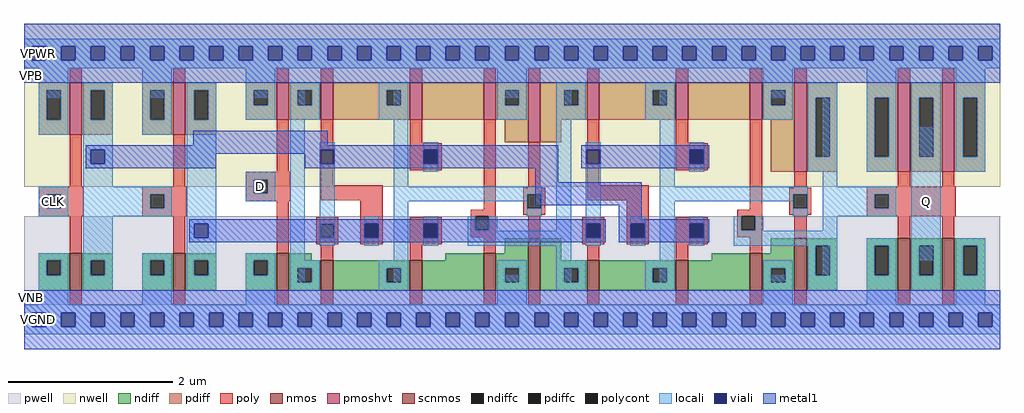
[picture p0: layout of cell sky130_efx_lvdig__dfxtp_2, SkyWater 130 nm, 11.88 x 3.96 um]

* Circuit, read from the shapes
.subckt sky130_efx_lvdig__dfxtp_2 CLK D Q VGND VPWR VPB VNB
XM1 n1 CLK VGND VNB sky130_fd_pr__nfet_01v8 w=0.45 l=0.15
XM2 n2 n1 VGND VNB sky130_fd_pr__nfet_01v8 w=0.45 l=0.15
XM3 n3 D VGND VNB sky130_fd_pr__nfet_01v8 w=0.45 l=0.15
XM4 n4 n1 n3 VNB sky130_fd_pr__nfet_01v8 w=0.36 l=0.15
XM5 n5 n2 n4 VNB sky130_fd_pr__nfet_01v8 w=0.36 l=0.15
XM6 VGND n6 n5 VNB sky130_fd_pr__nfet_01v8 w=0.45 l=0.15
XM7 n6 n4 VGND VNB sky130_fd_pr__nfet_01v8 w=0.63 l=0.15
XM8 n7 n2 n6 VNB sky130_fd_pr__nfet_01v8 w=0.36 l=0.15
XM9 n8 n1 n7 VNB sky130_fd_pr__nfet_01v8 w=0.36 l=0.15
XM10 VGND n9 n8 VNB sky130_fd_pr__nfet_01v8 w=0.45 l=0.15
XM11 n9 n7 VGND VNB sky130_fd_pr__nfet_01v8 w=0.63 l=0.15
XM12 Q n9 VGND VNB sky130_fd_pr__nfet_01v8 w=0.63 l=0.15 m=2
XM13 n1 CLK VPWR VPB sky130_fd_pr__pfet_01v8_hvt w=0.63 l=0.15
XM14 n2 n1 VPWR VPB sky130_fd_pr__pfet_01v8_hvt w=0.63 l=0.15
XM15 n3 D VPWR VPB sky130_fd_pr__pfet_01v8_hvt w=0.45 l=0.15
XM16 n4 n2 n3 VPB sky130_fd_pr__pfet_01v8_hvt w=0.45 l=0.15
XM17 n10 n1 n4 VPB sky130_fd_pr__pfet_01v8_hvt w=0.45 l=0.15
XM18 VPWR n6 n10 VPB sky130_fd_pr__pfet_01v8_hvt w=0.45 l=0.15
XM19 n6 n4 VPWR VPB sky130_fd_pr__pfet_01v8_hvt w=0.72 l=0.15
XM20 n7 n1 n6 VPB sky130_fd_pr__pfet_01v8_hvt w=0.45 l=0.15
XM21 n11 n2 n7 VPB sky130_fd_pr__pfet_01v8_hvt w=0.45 l=0.15
XM22 VPWR n9 n11 VPB sky130_fd_pr__pfet_01v8_hvt w=0.45 l=0.15
XM23 n9 n7 VPWR VPB sky130_fd_pr__pfet_01v8_hvt w=1.08 l=0.15
XM24 Q n9 VPWR VPB sky130_fd_pr__pfet_01v8_hvt w=1.08 l=0.15 m=2
.ends

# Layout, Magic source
magic
tech sky130A
magscale 1 2
<< nwell >>
rect 0 288 2376 684
<< pwell >>
rect 0 0 2376 216
<< poly >>
rect 615 324 645 450
rect 540 305 648 324
rect 36 269 144 288
rect 36 235 55 269
rect 89 235 144 269
rect 36 216 144 235
rect 288 269 396 288
rect 288 235 307 269
rect 341 235 396 269
rect 540 271 559 305
rect 593 271 648 305
rect 540 252 648 271
rect 723 291 753 450
rect 939 393 969 450
rect 939 377 1017 393
rect 939 343 973 377
rect 1007 343 1017 377
rect 939 327 1017 343
rect 723 255 873 291
rect 288 216 396 235
rect 615 126 645 252
rect 711 197 765 213
rect 711 163 721 197
rect 755 163 765 197
rect 711 147 765 163
rect 819 197 873 255
rect 1119 231 1149 450
rect 1227 285 1257 396
rect 1371 291 1401 450
rect 1587 393 1617 450
rect 1587 377 1665 393
rect 1587 343 1621 377
rect 1655 343 1665 377
rect 1587 327 1665 343
rect 1088 215 1149 231
rect 1215 269 1269 285
rect 1215 235 1225 269
rect 1259 235 1269 269
rect 1371 255 1521 291
rect 1215 219 1269 235
rect 819 163 829 197
rect 863 163 873 197
rect 819 147 873 163
rect 939 197 1017 213
rect 939 163 973 197
rect 1007 163 1017 197
rect 1088 181 1098 215
rect 1132 181 1149 215
rect 1088 165 1149 181
rect 939 147 1017 163
rect 723 108 753 147
rect 939 108 969 147
rect 1119 126 1149 165
rect 1227 162 1257 219
rect 1359 197 1413 213
rect 1359 163 1369 197
rect 1403 163 1413 197
rect 1359 147 1413 163
rect 1467 197 1521 255
rect 1767 231 1797 450
rect 1875 285 1905 324
rect 1736 215 1797 231
rect 1863 269 1917 285
rect 1863 235 1873 269
rect 1907 235 1917 269
rect 1863 219 1917 235
rect 2052 269 2268 288
rect 2052 235 2071 269
rect 2105 235 2268 269
rect 1467 163 1477 197
rect 1511 163 1521 197
rect 1467 147 1521 163
rect 1587 197 1665 213
rect 1587 163 1621 197
rect 1655 163 1665 197
rect 1736 181 1746 215
rect 1780 181 1797 215
rect 1736 165 1797 181
rect 1587 147 1665 163
rect 1371 108 1401 147
rect 1587 108 1617 147
rect 1767 126 1797 165
rect 1875 162 1905 219
rect 2052 216 2268 235
<< polycont >>
rect 55 235 89 269
rect 307 235 341 269
rect 559 271 593 305
rect 973 343 1007 377
rect 721 163 755 197
rect 1621 343 1655 377
rect 1225 235 1259 269
rect 829 163 863 197
rect 973 163 1007 197
rect 1098 181 1132 215
rect 1369 163 1403 197
rect 1873 235 1907 269
rect 2071 235 2105 269
rect 1477 163 1511 197
rect 1621 163 1655 197
rect 1746 181 1780 215
<< locali >>
rect 0 629 2376 648
rect 0 595 19 629
rect 53 595 91 629
rect 125 595 163 629
rect 197 595 235 629
rect 269 595 307 629
rect 341 595 379 629
rect 413 595 451 629
rect 485 595 523 629
rect 557 595 595 629
rect 629 595 667 629
rect 701 595 739 629
rect 773 595 811 629
rect 845 595 883 629
rect 917 595 955 629
rect 989 595 1027 629
rect 1061 595 1099 629
rect 1133 595 1171 629
rect 1205 595 1243 629
rect 1277 595 1315 629
rect 1349 595 1387 629
rect 1421 595 1459 629
rect 1493 595 1531 629
rect 1565 595 1603 629
rect 1637 595 1675 629
rect 1709 595 1747 629
rect 1781 595 1819 629
rect 1853 595 1891 629
rect 1925 595 1963 629
rect 1997 595 2035 629
rect 2069 595 2107 629
rect 2141 595 2179 629
rect 2213 595 2251 629
rect 2285 595 2323 629
rect 2357 595 2376 629
rect 0 576 2376 595
rect 36 504 108 576
rect 288 504 360 576
rect 540 504 612 576
rect 144 377 216 432
rect 144 343 163 377
rect 197 343 216 377
rect 144 288 216 343
rect 36 269 108 288
rect 36 235 55 269
rect 89 235 108 269
rect 36 216 108 235
rect 144 269 360 288
rect 144 235 307 269
rect 341 235 360 269
rect 144 216 360 235
rect 144 108 216 216
rect 396 197 468 432
rect 540 305 612 324
rect 540 271 559 305
rect 593 271 612 305
rect 540 252 612 271
rect 396 163 415 197
rect 449 163 468 197
rect 396 108 468 163
rect 36 0 108 72
rect 288 0 360 72
rect 540 0 612 72
rect 648 36 684 540
rect 720 377 756 396
rect 720 343 721 377
rect 755 343 756 377
rect 720 197 756 343
rect 900 288 936 540
rect 1152 504 1224 576
rect 972 377 1008 396
rect 972 343 973 377
rect 1007 343 1008 377
rect 972 324 1008 343
rect 900 269 1260 288
rect 900 252 1225 269
rect 720 163 721 197
rect 755 163 756 197
rect 720 144 756 163
rect 828 197 864 216
rect 828 163 829 197
rect 863 163 864 197
rect 828 144 864 163
rect 900 36 936 252
rect 1224 235 1225 252
rect 1259 235 1260 269
rect 1224 216 1260 235
rect 972 197 1008 216
rect 972 163 973 197
rect 1007 163 1008 197
rect 972 144 1008 163
rect 1080 215 1152 216
rect 1080 181 1098 215
rect 1132 181 1152 215
rect 1080 180 1152 181
rect 1296 180 1332 540
rect 1080 144 1332 180
rect 1368 377 1404 396
rect 1368 343 1369 377
rect 1403 343 1404 377
rect 1368 197 1404 343
rect 1548 288 1584 540
rect 1800 504 1872 576
rect 1620 377 1656 396
rect 1620 343 1621 377
rect 1655 343 1656 377
rect 1620 324 1656 343
rect 1944 288 1980 540
rect 2052 504 2124 576
rect 2268 504 2340 576
rect 1548 269 1908 288
rect 1548 252 1873 269
rect 1368 163 1369 197
rect 1403 163 1404 197
rect 1368 144 1404 163
rect 1476 197 1512 216
rect 1476 163 1477 197
rect 1511 163 1512 197
rect 1476 144 1512 163
rect 1152 0 1224 72
rect 1296 36 1332 144
rect 1548 36 1584 252
rect 1872 235 1873 252
rect 1907 235 1908 269
rect 1872 216 1908 235
rect 1944 269 2124 288
rect 1944 235 2071 269
rect 2105 235 2124 269
rect 1944 216 2124 235
rect 1620 197 1656 216
rect 1620 163 1621 197
rect 1655 163 1656 197
rect 1620 144 1656 163
rect 1728 215 1800 216
rect 1728 181 1746 215
rect 1780 181 1800 215
rect 1728 180 1800 181
rect 1944 180 1980 216
rect 1728 144 1980 180
rect 1800 0 1872 72
rect 1944 36 1980 144
rect 2160 108 2232 432
rect 2052 0 2124 72
rect 2268 0 2340 72
rect 0 -19 2376 0
rect 0 -53 19 -19
rect 53 -53 91 -19
rect 125 -53 163 -19
rect 197 -53 235 -19
rect 269 -53 307 -19
rect 341 -53 379 -19
rect 413 -53 451 -19
rect 485 -53 523 -19
rect 557 -53 595 -19
rect 629 -53 667 -19
rect 701 -53 739 -19
rect 773 -53 811 -19
rect 845 -53 883 -19
rect 917 -53 955 -19
rect 989 -53 1027 -19
rect 1061 -53 1099 -19
rect 1133 -53 1171 -19
rect 1205 -53 1243 -19
rect 1277 -53 1315 -19
rect 1349 -53 1387 -19
rect 1421 -53 1459 -19
rect 1493 -53 1531 -19
rect 1565 -53 1603 -19
rect 1637 -53 1675 -19
rect 1709 -53 1747 -19
rect 1781 -53 1819 -19
rect 1853 -53 1891 -19
rect 1925 -53 1963 -19
rect 1997 -53 2035 -19
rect 2069 -53 2107 -19
rect 2141 -53 2179 -19
rect 2213 -53 2251 -19
rect 2285 -53 2323 -19
rect 2357 -53 2376 -19
rect 0 -72 2376 -53
<< viali >>
rect 19 595 53 629
rect 91 595 125 629
rect 163 595 197 629
rect 235 595 269 629
rect 307 595 341 629
rect 379 595 413 629
rect 451 595 485 629
rect 523 595 557 629
rect 595 595 629 629
rect 667 595 701 629
rect 739 595 773 629
rect 811 595 845 629
rect 883 595 917 629
rect 955 595 989 629
rect 1027 595 1061 629
rect 1099 595 1133 629
rect 1171 595 1205 629
rect 1243 595 1277 629
rect 1315 595 1349 629
rect 1387 595 1421 629
rect 1459 595 1493 629
rect 1531 595 1565 629
rect 1603 595 1637 629
rect 1675 595 1709 629
rect 1747 595 1781 629
rect 1819 595 1853 629
rect 1891 595 1925 629
rect 1963 595 1997 629
rect 2035 595 2069 629
rect 2107 595 2141 629
rect 2179 595 2213 629
rect 2251 595 2285 629
rect 2323 595 2357 629
rect 163 343 197 377
rect 415 163 449 197
rect 721 343 755 377
rect 973 343 1007 377
rect 829 163 863 197
rect 973 163 1007 197
rect 1369 343 1403 377
rect 1621 343 1655 377
rect 1369 163 1403 197
rect 1477 163 1511 197
rect 1621 163 1655 197
rect 19 -53 53 -19
rect 91 -53 125 -19
rect 163 -53 197 -19
rect 235 -53 269 -19
rect 307 -53 341 -19
rect 379 -53 413 -19
rect 451 -53 485 -19
rect 523 -53 557 -19
rect 595 -53 629 -19
rect 667 -53 701 -19
rect 739 -53 773 -19
rect 811 -53 845 -19
rect 883 -53 917 -19
rect 955 -53 989 -19
rect 1027 -53 1061 -19
rect 1099 -53 1133 -19
rect 1171 -53 1205 -19
rect 1243 -53 1277 -19
rect 1315 -53 1349 -19
rect 1387 -53 1421 -19
rect 1459 -53 1493 -19
rect 1531 -53 1565 -19
rect 1603 -53 1637 -19
rect 1675 -53 1709 -19
rect 1747 -53 1781 -19
rect 1819 -53 1853 -19
rect 1891 -53 1925 -19
rect 1963 -53 1997 -19
rect 2035 -53 2069 -19
rect 2107 -53 2141 -19
rect 2179 -53 2213 -19
rect 2251 -53 2285 -19
rect 2323 -53 2357 -19
<< metal1 >>
rect 0 629 2376 684
rect 0 595 19 629
rect 53 595 91 629
rect 125 595 163 629
rect 197 595 235 629
rect 269 595 307 629
rect 341 595 379 629
rect 413 595 451 629
rect 485 595 523 629
rect 557 595 595 629
rect 629 595 667 629
rect 701 595 739 629
rect 773 595 811 629
rect 845 595 883 629
rect 917 595 955 629
rect 989 595 1027 629
rect 1061 595 1099 629
rect 1133 595 1171 629
rect 1205 595 1243 629
rect 1277 595 1315 629
rect 1349 595 1387 629
rect 1421 595 1459 629
rect 1493 595 1531 629
rect 1565 595 1603 629
rect 1637 595 1675 629
rect 1709 595 1747 629
rect 1781 595 1819 629
rect 1853 595 1891 629
rect 1925 595 1963 629
rect 1997 595 2035 629
rect 2069 595 2107 629
rect 2141 595 2179 629
rect 2213 595 2251 629
rect 2285 595 2323 629
rect 2357 595 2376 629
rect 0 540 2376 595
rect 412 388 740 424
rect 150 377 1300 388
rect 150 343 163 377
rect 197 368 721 377
rect 197 343 468 368
rect 150 332 468 343
rect 684 343 721 368
rect 755 343 973 377
rect 1007 343 1300 377
rect 684 332 1300 343
rect 1356 377 1668 388
rect 1356 343 1369 377
rect 1403 343 1621 377
rect 1655 343 1668 377
rect 1356 332 1668 343
rect 1244 298 1300 332
rect 1244 242 1504 298
rect 1448 208 1504 242
rect 402 197 1416 208
rect 402 163 415 197
rect 449 163 829 197
rect 863 163 973 197
rect 1007 163 1369 197
rect 1403 163 1416 197
rect 402 152 1416 163
rect 1448 197 1668 208
rect 1448 163 1477 197
rect 1511 163 1621 197
rect 1655 163 1668 197
rect 1448 152 1668 163
rect 0 -19 2376 36
rect 0 -53 19 -19
rect 53 -53 91 -19
rect 125 -53 163 -19
rect 197 -53 235 -19
rect 269 -53 307 -19
rect 341 -53 379 -19
rect 413 -53 451 -19
rect 485 -53 523 -19
rect 557 -53 595 -19
rect 629 -53 667 -19
rect 701 -53 739 -19
rect 773 -53 811 -19
rect 845 -53 883 -19
rect 917 -53 955 -19
rect 989 -53 1027 -19
rect 1061 -53 1099 -19
rect 1133 -53 1171 -19
rect 1205 -53 1243 -19
rect 1277 -53 1315 -19
rect 1349 -53 1387 -19
rect 1421 -53 1459 -19
rect 1493 -53 1531 -19
rect 1565 -53 1603 -19
rect 1637 -53 1675 -19
rect 1709 -53 1747 -19
rect 1781 -53 1819 -19
rect 1853 -53 1891 -19
rect 1925 -53 1963 -19
rect 1997 -53 2035 -19
rect 2069 -53 2107 -19
rect 2141 -53 2179 -19
rect 2213 -53 2251 -19
rect 2285 -53 2323 -19
rect 2357 -53 2376 -19
rect 0 -108 2376 -53
use nmos_isl_dfxtp_2  nmos_isl_dfxtp_2_0
transform 1 0 0 0 1 0
box 504 0 2016 216
use pmos_isl_dfxtp_2  pmos_isl_dfxtp_2_0
transform 1 0 0 0 1 0
box 504 288 2016 684
use nmos_n2f5_f1_l150_ff  nmos_n2f5_f1_l150_ff_0
transform 1 0 72 0 1 36
box -72 -36 180 180
use nmos_n2f5_f1_l150_ff  nmos_n2f5_f1_l150_ff_1
transform 1 0 324 0 1 36
box -72 -36 180 180
use nmos_n3f5_f2_l150_fff  nmos_n3f5_f2_l150_fff_0
transform 1 0 2088 0 1 36
box -72 -36 288 180
use pmos_n3f5_f1_l150_hvt_ff  pmos_n3f5_f1_l150_hvt_ff_0
transform 1 0 72 0 1 414
box -72 -126 180 162
use pmos_n3f5_f1_l150_hvt_ff  pmos_n3f5_f1_l150_hvt_ff_1
transform 1 0 324 0 1 414
box -72 -126 180 162
use pmos_n6_f2_l150_hvt  pmos_n6_f2_l150_hvt_0
transform 1 0 2088 0 1 324
box -72 -36 288 252
<< labels >>
flabel locali 36 216 108 288 0 FreeSans 288 0 0 0 CLK
port 1 nsew signal input
flabel locali 540 252 612 324 0 FreeSans 288 0 0 0 D
port 2 nsew signal input
flabel locali 2160 216 2232 288 0 FreeSans 288 0 0 0 Q
port 3 nsew signal output
flabel metal1 0 -72 72 0 0 FreeSans 288 0 0 0 VGND
port 4 nsew ground bidirectional
flabel metal1 0 576 72 648 0 FreeSans 288 0 0 0 VPWR
port 5 nsew power bidirectional
flabel nwell 0 540 36 576 0 FreeSans 288 0 0 0 VPB
port 6 nsew power bidirectional
flabel pwell 0 0 36 36 0 FreeSans 288 0 0 0 VNB
port 7 nsew ground bidirectional
<< properties >>
string FIXED_BBOX 0 -36 2376 612
<< end >>

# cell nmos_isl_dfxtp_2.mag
magic
tech sky130A
magscale 1 2
<< pwell >>
rect 504 0 2016 216
<< nmos >>
rect 615 36 645 126
rect 1119 36 1149 126
rect 1227 36 1257 162
rect 1767 36 1797 126
rect 1875 36 1905 162
<< scnmos >>
rect 723 36 753 108
rect 939 36 969 108
rect 1371 36 1401 108
rect 1587 36 1617 108
<< ndiff >>
rect 540 108 615 126
rect 540 72 559 108
rect 593 72 615 108
rect 540 36 615 72
rect 645 108 700 126
rect 1170 126 1227 162
rect 1026 108 1119 126
rect 645 89 723 108
rect 645 55 667 89
rect 701 55 723 89
rect 645 36 723 55
rect 753 89 939 108
rect 753 55 883 89
rect 917 55 939 89
rect 753 36 939 55
rect 969 36 1119 108
rect 1149 89 1227 126
rect 1149 55 1171 89
rect 1205 55 1227 89
rect 1149 36 1227 55
rect 1257 108 1308 162
rect 1818 126 1875 162
rect 1674 108 1767 126
rect 1257 89 1371 108
rect 1257 55 1315 89
rect 1349 55 1371 89
rect 1257 36 1371 55
rect 1401 89 1587 108
rect 1401 55 1531 89
rect 1565 55 1587 89
rect 1401 36 1587 55
rect 1617 36 1767 108
rect 1797 89 1875 126
rect 1797 55 1819 89
rect 1853 55 1875 89
rect 1797 36 1875 55
rect 1905 144 1980 162
rect 1905 72 1927 144
rect 1961 72 1980 144
rect 1905 36 1980 72
<< ndiffc >>
rect 559 72 593 108
rect 667 55 701 89
rect 883 55 917 89
rect 1171 55 1205 89
rect 1315 55 1349 89
rect 1531 55 1565 89
rect 1819 55 1853 89
rect 1927 72 1961 144
<< poly >>
rect 1227 162 1257 198
rect 1875 162 1905 198
rect 615 126 645 162
rect 723 108 753 144
rect 939 108 969 144
rect 1119 126 1149 162
rect 1371 108 1401 144
rect 1587 108 1617 144
rect 1767 126 1797 162
rect 615 0 645 36
rect 723 0 753 36
rect 939 0 969 36
rect 1119 0 1149 36
rect 1227 0 1257 36
rect 1371 0 1401 36
rect 1587 0 1617 36
rect 1767 0 1797 36
rect 1875 0 1905 36
<< locali >>
rect 1908 144 1980 162
rect 540 108 612 126
rect 540 72 559 108
rect 593 72 612 108
rect 540 36 612 72
rect 648 89 720 108
rect 648 55 667 89
rect 701 55 720 89
rect 648 36 720 55
rect 864 89 936 108
rect 864 55 883 89
rect 917 55 936 89
rect 864 36 936 55
rect 1152 89 1224 108
rect 1152 55 1171 89
rect 1205 55 1224 89
rect 1152 36 1224 55
rect 1296 89 1368 108
rect 1296 55 1315 89
rect 1349 55 1368 89
rect 1296 36 1368 55
rect 1512 89 1584 108
rect 1512 55 1531 89
rect 1565 55 1584 89
rect 1512 36 1584 55
rect 1800 89 1872 108
rect 1800 55 1819 89
rect 1853 55 1872 89
rect 1800 36 1872 55
rect 1908 72 1927 144
rect 1961 72 1980 144
rect 1908 36 1980 72
<< end >>

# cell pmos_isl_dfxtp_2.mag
magic
tech sky130A
magscale 1 2
<< nwell >>
rect 504 288 2016 684
<< pmoshvt >>
rect 615 450 645 540
rect 723 450 753 540
rect 939 450 969 540
rect 1119 450 1149 540
rect 1227 396 1257 540
rect 1371 450 1401 540
rect 1587 450 1617 540
rect 1767 450 1797 540
rect 1875 324 1905 540
<< pdiff >>
rect 540 522 615 540
rect 540 486 559 522
rect 593 486 615 522
rect 540 450 615 486
rect 645 522 723 540
rect 645 486 667 522
rect 701 486 723 522
rect 645 450 723 486
rect 753 522 939 540
rect 753 486 883 522
rect 917 486 939 522
rect 753 450 939 486
rect 969 450 1119 540
rect 1149 522 1227 540
rect 1149 486 1171 522
rect 1205 486 1227 522
rect 1149 450 1227 486
rect 1170 396 1227 450
rect 1257 522 1371 540
rect 1257 486 1315 522
rect 1349 486 1371 522
rect 1257 450 1371 486
rect 1401 522 1587 540
rect 1401 486 1531 522
rect 1565 486 1587 522
rect 1401 450 1587 486
rect 1617 450 1767 540
rect 1797 522 1875 540
rect 1797 486 1819 522
rect 1853 486 1875 522
rect 1797 450 1875 486
rect 1257 396 1308 450
rect 1818 324 1875 450
rect 1905 504 1980 540
rect 1905 360 1927 504
rect 1961 360 1980 504
rect 1905 324 1980 360
<< pdiffc >>
rect 559 486 593 522
rect 667 486 701 522
rect 883 486 917 522
rect 1171 486 1205 522
rect 1315 486 1349 522
rect 1531 486 1565 522
rect 1819 486 1853 522
rect 1927 360 1961 504
<< poly >>
rect 615 540 645 576
rect 723 540 753 576
rect 939 540 969 576
rect 1119 540 1149 576
rect 1227 540 1257 576
rect 1371 540 1401 576
rect 1587 540 1617 576
rect 1767 540 1797 576
rect 1875 540 1905 576
rect 615 414 645 450
rect 723 414 753 450
rect 939 414 969 450
rect 1119 414 1149 450
rect 1371 414 1401 450
rect 1587 414 1617 450
rect 1767 414 1797 450
rect 1227 360 1257 396
rect 1875 288 1905 324
<< locali >>
rect 540 522 612 540
rect 540 486 559 522
rect 593 486 612 522
rect 540 450 612 486
rect 648 522 720 540
rect 648 486 667 522
rect 701 486 720 522
rect 648 450 720 486
rect 864 522 936 540
rect 864 486 883 522
rect 917 486 936 522
rect 864 450 936 486
rect 1152 522 1224 540
rect 1152 486 1171 522
rect 1205 486 1224 522
rect 1152 450 1224 486
rect 1296 522 1368 540
rect 1296 486 1315 522
rect 1349 486 1368 522
rect 1296 450 1368 486
rect 1512 522 1584 540
rect 1512 486 1531 522
rect 1565 486 1584 522
rect 1512 450 1584 486
rect 1800 522 1872 540
rect 1800 486 1819 522
rect 1853 486 1872 522
rect 1800 450 1872 486
rect 1908 504 1980 540
rect 1908 360 1927 504
rect 1961 360 1980 504
rect 1908 324 1980 360
<< end >>

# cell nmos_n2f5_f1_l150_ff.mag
magic
tech sky130A
magscale 1 2
<< pwell >>
rect -72 -36 180 180
<< nmos >>
rect 39 0 69 90
<< ndiff >>
rect -36 72 39 90
rect -36 36 -17 72
rect 17 36 39 72
rect -36 0 39 36
rect 69 72 144 90
rect 69 36 91 72
rect 125 36 144 72
rect 69 0 144 36
<< ndiffc >>
rect -17 36 17 72
rect 91 36 125 72
<< poly >>
rect 39 90 69 180
rect 39 -36 69 0
<< locali >>
rect -36 72 36 90
rect -36 36 -17 72
rect 17 36 36 72
rect -36 0 36 36
rect 72 72 144 90
rect 72 36 91 72
rect 125 36 144 72
rect 72 0 144 36
<< end >>

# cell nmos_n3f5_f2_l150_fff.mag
magic
tech sky130A
magscale 1 2
<< pwell >>
rect -72 -36 288 180
<< nmos >>
rect 39 0 69 126
rect 147 0 177 126
<< ndiff >>
rect -36 108 39 126
rect -36 36 -17 108
rect 17 36 39 108
rect -36 0 39 36
rect 69 108 147 126
rect 69 36 91 108
rect 125 36 147 108
rect 69 0 147 36
rect 177 108 252 126
rect 177 36 199 108
rect 233 36 252 108
rect 177 0 252 36
<< ndiffc >>
rect -17 36 17 108
rect 91 36 125 108
rect 199 36 233 108
<< poly >>
rect 39 126 69 180
rect 147 126 177 180
rect 39 -36 69 0
rect 147 -36 177 0
<< locali >>
rect -36 108 36 126
rect -36 36 -17 108
rect 17 36 36 108
rect -36 0 36 36
rect 72 108 144 126
rect 72 36 91 108
rect 125 36 144 108
rect 72 0 144 36
rect 180 108 252 126
rect 180 36 199 108
rect 233 36 252 108
rect 180 0 252 36
<< end >>

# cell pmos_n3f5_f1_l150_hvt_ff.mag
magic
tech sky130A
magscale 1 2
<< nwell >>
rect -72 -126 180 162
<< pmoshvt >>
rect 39 0 69 126
<< pdiff >>
rect -36 108 39 126
rect -36 36 -17 108
rect 17 36 39 108
rect -36 0 39 36
rect 69 108 144 126
rect 69 36 91 108
rect 125 36 144 108
rect 69 0 144 36
<< pdiffc >>
rect -17 36 17 108
rect 91 36 125 108
<< poly >>
rect 39 126 69 162
rect 39 -126 69 0
<< locali >>
rect -36 108 36 126
rect -36 36 -17 108
rect 17 36 36 108
rect -36 0 36 36
rect 72 108 144 126
rect 72 36 91 108
rect 125 36 144 108
rect 72 0 144 36
<< end >>

# cell pmos_n6_f2_l150_hvt: kit device pmos, n 6 fingers 2 length 0.15 butted 0 ltap 0 rtap 0 vt hvt tgate 0 bgate 0
